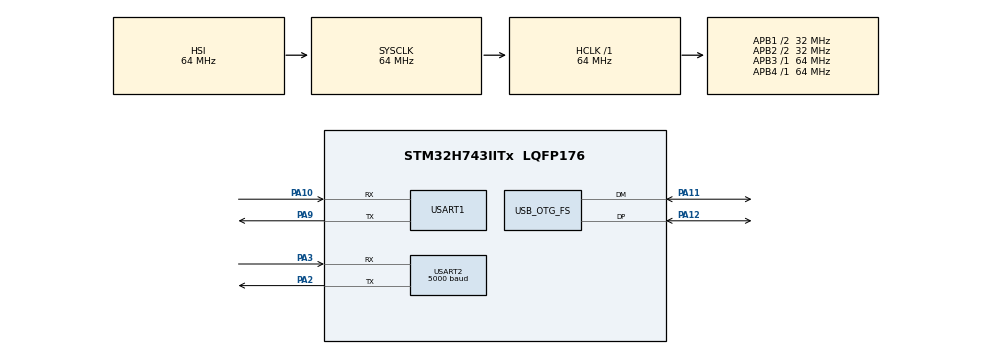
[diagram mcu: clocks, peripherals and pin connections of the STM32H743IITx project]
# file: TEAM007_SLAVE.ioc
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CORTEX_M7.default_mode_Activation=1
Mcu.Family=STM32H7
Mcu.Name=STM32H743IITx
Mcu.Package=LQFP176
NVIC.OTG_FS_IRQn=true\:0\:0\:false\:false\:true\:false\:true\:true
NVIC.PriorityGroup=NVIC_PRIORITYGROUP_4
NVIC.USART2_IRQn=true\:0\:0\:false\:false\:true\:true\:true\:true
PA10.Mode=Asynchronous
PA10.Signal=USART1_RX
PA11.GPIO_Speed=GPIO_SPEED_FREQ_VERY_HIGH
PA11.Mode=Device_Only
PA11.Signal=USB_OTG_FS_DM
PA12.GPIO_Speed=GPIO_SPEED_FREQ_VERY_HIGH
PA12.Mode=Device_Only
PA12.Signal=USB_OTG_FS_DP
PA13\ (JTMS/SWDIO).Mode=Serial_Wire
PA13\ (JTMS/SWDIO).Signal=DEBUG_JTMS-SWDIO
PA14\ (JTCK/SWCLK).Mode=Serial_Wire
PA14\ (JTCK/SWCLK).Signal=DEBUG_JTCK-SWCLK
PA2.GPIO_Speed=GPIO_SPEED_FREQ_VERY_HIGH
PA2.Mode=Asynchronous
PA2.Signal=USART2_TX
PA3.GPIO_Speed=GPIO_SPEED_FREQ_VERY_HIGH
PA3.Mode=Asynchronous
PA3.Signal=USART2_RX
PA9.Mode=Asynchronous
PA9.Signal=USART1_TX
PH0-OSC_IN\ (PH0).Mode=HSE-External-Oscillator
PH0-OSC_IN\ (PH0).Signal=RCC_OSC_IN
PH1-OSC_OUT\ (PH1).Mode=HSE-External-Oscillator
PH1-OSC_OUT\ (PH1).Signal=RCC_OSC_OUT
ProjectManager.HeapSize=0x800
ProjectManager.StackSize=0x1000
ProjectManager.TargetToolchain=STM32CubeIDE
RCC.ADCFreq_Value=50390625
RCC.APB1Freq_Value=32000000
RCC.APB2Freq_Value=32000000
RCC.APB3Freq_Value=64000000
RCC.APB4Freq_Value=64000000
RCC.CortexFreq_Value=64000000
RCC.D2PPRE1=RCC_APB1_DIV2
RCC.D2PPRE2=RCC_APB2_DIV2
RCC.DIVM1=5
RCC.DIVN1=48
RCC.DIVQ1=5
RCC.HCLKFreq_Value=64000000
RCC.PLLSourceVirtual=RCC_PLLSOURCE_HSE
RCC.SYSCLKFreq_VALUE=64000000
RCC.USBCLockSelection=RCC_USBCLKSOURCE_HSI48
RCC.USBFreq_Value=48000000
USART1.VirtualMode-Asynchronous=VM_ASYNC
USART2.BaudRate=5000
USART2.VirtualMode-Asynchronous=VM_ASYNC
USB_DEVICE.CLASS_NAME_FS=CUSTOM_HID
USB_DEVICE.CUSTOM_HID_FS_BINTERVAL=0x1
USB_DEVICE.USBD_CUSTOMHID_OUTREPORT_BUF_SIZE-CUSTOM_HID_FS=64
USB_DEVICE.USBD_CUSTOM_HID_REPORT_DESC_SIZE-CUSTOM_HID_FS=126
USB_DEVICE.VirtualMode-CUSTOM_HID_FS=CustomHid
USB_DEVICE.VirtualModeFS=Custom_Hid_FS
USB_OTG_FS.VirtualMode=Device_Only
VP_MEMORYMAP_VS_MEMORYMAP.Mode=CurAppReg
VP_TIM1_VS_ClockSourceINT.Mode=Internal
VP_USB_DEVICE_VS_USB_DEVICE_CUSTOM_HID_FS.Mode=CUSTOM_HID_FS
board=custom

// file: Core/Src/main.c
/* USER CODE BEGIN Header */
/**
  ******************************************************************************
  * @file           : main.c
  * @brief          : Main program body
  ******************************************************************************
  * @attention
  *
  * Copyright (c) 2025 STMicroelectronics.
  * All rights reserved.
  *
  * This software is licensed under terms that can be found in the LICENSE file
  * in the root directory of this software component.
  * If no LICENSE file comes with this software, it is provided AS-IS.
  *
  ******************************************************************************
  */
/* USER CODE END Header */
#include "main.h"
#include "tim.h"
#include "usart.h"
#include "usb_device.h"
#include "gpio.h"

/* USER CODE BEGIN Includes */

#include "usbd_customhid.h"
// #include "usbd_customhid.h"
/* USER CODE END Includes */

/* USER CODE BEGIN PV */
uint8_t Rx_data = 0;
uint8_t Rx_buffer[10];
uint8_t Rx_flag = 0;
uint8_t mouse_buffer[9];
uint8_t keyboard_buffer[9];
/* USER CODE END PV */

void SystemClock_Config(void);
static void MPU_Config(void);

/* USER CODE BEGIN 0 */
void HAL_UART_RxCpltCallback(UART_HandleTypeDef *huart)
{
  if (huart->Instance == USART2)
  {

    if (Rx_data == 0x02)
    {
      Rx_data = 0;
      HAL_UART_Receive_IT(&huart2,Rx_buffer,4);
      Rx_flag = 1;
    }
    else if(Rx_flag == 1)
    {
      HAL_UART_Receive_IT(&huart2,&Rx_data,1);
      Rx_flag = 2;
    }
    else if(Rx_data == 0x06)
    {
      Rx_data = 0;
      HAL_UART_Receive_IT(&huart2,Rx_buffer,7);
      Rx_flag = 3;
    }
    else if(Rx_flag == 3)
    {
      HAL_UART_Receive_IT(&huart2,&Rx_data,1);
      Rx_flag = 4;
    }
    else
    {
      HAL_UART_Receive_IT(&huart2,&Rx_data,1);
    }
  }
}
/* USER CODE END 0 */

int main(void)
{

  /* MPU Configuration--------------------------------------------------------*/
  MPU_Config();

  /* MCU Configuration--------------------------------------------------------*/

  /* Reset of all peripherals, Initializes the Flash interface and the Systick. */
  HAL_Init();

  /* Configure the system clock */
  SystemClock_Config();

  /* Initialize all configured peripherals */
  MX_GPIO_Init();
  MX_TIM1_Init();
  MX_USART1_UART_Init();
  MX_USART2_UART_Init();
  MX_USB_DEVICE_Init();
  /* USER CODE BEGIN 2 */
  HAL_UART_Receive_IT(&huart2,(uint8_t*)&Rx_data,1);

  /* USER CODE END 2 */

  /* Infinite loop */
  while (1)
  {

    /* USER CODE BEGIN 3 */

    if (Rx_flag == 2)
    {
      mouse_buffer[0] = 0x01;
      for (uint8_t i = 1; i < 5; i++)
      {
        mouse_buffer[i] = Rx_buffer[i-1];
      }
      mouse_buffer[5] = 0x00;
      mouse_buffer[6] = 0x00;
      mouse_buffer[7] = 0x00;
      mouse_buffer[8] = 0x00;
      USBD_CUSTOM_HID_SendReport(&hUsbDeviceFS, &mouse_buffer[0],9);
      Rx_flag = 0;
    }
    else if (Rx_flag == 4)
    {
      keyboard_buffer[0] = 0x02;
      keyboard_buffer[1] = Rx_buffer[0];
      keyboard_buffer[2] = 0x00;
      for (uint8_t i = 3; i < 9; i++)
      {
        keyboard_buffer[i] = Rx_buffer[i-2];
      }
      USBD_CUSTOM_HID_SendReport(&hUsbDeviceFS, &keyboard_buffer[0],9);
      Rx_flag = 0;
    }
  }

  /* USER CODE END 3 */
}

void SystemClock_Config(void)
{
  RCC_OscInitTypeDef RCC_OscInitStruct = {0};
  RCC_ClkInitTypeDef RCC_ClkInitStruct = {0};

  /** Supply configuration update enable
  */
  HAL_PWREx_ConfigSupply(PWR_LDO_SUPPLY);

  /** Configure the main internal regulator output voltage
  */
  __HAL_PWR_VOLTAGESCALING_CONFIG(PWR_REGULATOR_VOLTAGE_SCALE3);

  while(!__HAL_PWR_GET_FLAG(PWR_FLAG_VOSRDY)) {}

  /** Initializes the RCC Oscillators according to the specified parameters
  * in the RCC_OscInitTypeDef structure.
  */
  RCC_OscInitStruct.OscillatorType = RCC_OSCILLATORTYPE_HSI48|RCC_OSCILLATORTYPE_HSI;
  RCC_OscInitStruct.HSIState = RCC_HSI_DIV1;
  RCC_OscInitStruct.HSICalibrationValue = RCC_HSICALIBRATION_DEFAULT;
  RCC_OscInitStruct.HSI48State = RCC_HSI48_ON;
  RCC_OscInitStruct.PLL.PLLState = RCC_PLL_NONE;
  if (HAL_RCC_OscConfig(&RCC_OscInitStruct) != HAL_OK)
  {
    Error_Handler();
  }

  /** Initializes the CPU, AHB and APB buses clocks
  */
  RCC_ClkInitStruct.ClockType = RCC_CLOCKTYPE_HCLK|RCC_CLOCKTYPE_SYSCLK
                              |RCC_CLOCKTYPE_PCLK1|RCC_CLOCKTYPE_PCLK2
                              |RCC_CLOCKTYPE_D3PCLK1|RCC_CLOCKTYPE_D1PCLK1;
  RCC_ClkInitStruct.SYSCLKSource = RCC_SYSCLKSOURCE_HSI;
  RCC_ClkInitStruct.SYSCLKDivider = RCC_SYSCLK_DIV1;
  RCC_ClkInitStruct.AHBCLKDivider = RCC_HCLK_DIV1;
  RCC_ClkInitStruct.APB3CLKDivider = RCC_APB3_DIV1;
  RCC_ClkInitStruct.APB1CLKDivider = RCC_APB1_DIV2;
  RCC_ClkInitStruct.APB2CLKDivider = RCC_APB2_DIV2;
  RCC_ClkInitStruct.APB4CLKDivider = RCC_APB4_DIV1;

  if (HAL_RCC_ClockConfig(&RCC_ClkInitStruct, FLASH_LATENCY_1) != HAL_OK)
  {
    Error_Handler();
  }
}

 /* MPU Configuration */

void MPU_Config(void)
{
  MPU_Region_InitTypeDef MPU_InitStruct = {0};

  /* Disables the MPU */
  HAL_MPU_Disable();

  /** Initializes and configures the Region and the memory to be protected
  */
  MPU_InitStruct.Enable = MPU_REGION_ENABLE;
  MPU_InitStruct.Number = MPU_REGION_NUMBER0;
  MPU_InitStruct.BaseAddress = 0x0;
  MPU_InitStruct.Size = MPU_REGION_SIZE_4GB;
  MPU_InitStruct.SubRegionDisable = 0x87;
  MPU_InitStruct.TypeExtField = MPU_TEX_LEVEL0;
  MPU_InitStruct.AccessPermission = MPU_REGION_NO_ACCESS;
  MPU_InitStruct.DisableExec = MPU_INSTRUCTION_ACCESS_DISABLE;
  MPU_InitStruct.IsShareable = MPU_ACCESS_SHAREABLE;
  MPU_InitStruct.IsCacheable = MPU_ACCESS_NOT_CACHEABLE;
  MPU_InitStruct.IsBufferable = MPU_ACCESS_NOT_BUFFERABLE;

  HAL_MPU_ConfigRegion(&MPU_InitStruct);
  /* Enables the MPU */
  HAL_MPU_Enable(MPU_PRIVILEGED_DEFAULT);

}

void Error_Handler(void)
{
  __disable_irq();
  while (1)
  {
  }
}
